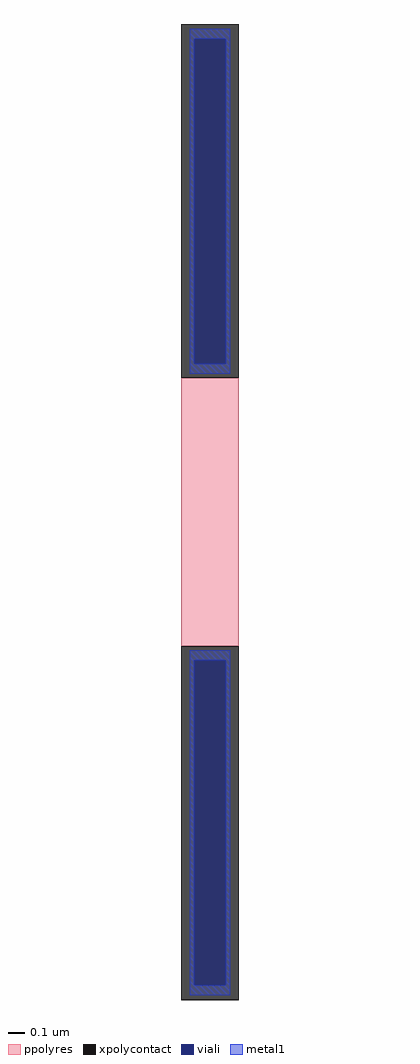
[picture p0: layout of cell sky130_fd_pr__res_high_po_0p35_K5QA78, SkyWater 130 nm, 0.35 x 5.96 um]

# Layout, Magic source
magic
tech sky130A
magscale 1 2
<< xpolycontact >>
rect -35 164 35 596
rect -35 -596 35 -164
<< ppolyres >>
rect -35 -164 35 164
<< viali >>
rect -19 181 19 578
rect -19 -578 19 -181
<< metal1 >>
rect -25 578 25 590
rect -25 181 -19 578
rect 19 181 25 578
rect -25 169 25 181
rect -25 -181 25 -169
rect -25 -578 -19 -181
rect 19 -578 25 -181
rect -25 -590 25 -578
<< properties >>
string gencell sky130_fd_pr__res_high_po_0p35
string library sky130
string parameters w 0.350 l 1.8 m 1 nx 1 wmin 0.350 lmin 0.50 class resistor rho 319.8 val 2.757k dummy 0 dw 0.0 term 194.82 sterm 0.0 caplen 0 guard 0 glc 1 grc 1 gtc 1 gbc 1 compatible {sky130_fd_pr__res_high_po_0p35  sky130_fd_pr__res_high_po_0p69 sky130_fd_pr__res_high_po_1p41  sky130_fd_pr__res_high_po_2p85 sky130_fd_pr__res_high_po_5p73} snake 0 full_metal 1 wmax 0.350 vias 1 n_guard 0 hv_guard 0 viagb 0 viagt 0 viagl 0 viagr 0
<< end >>
